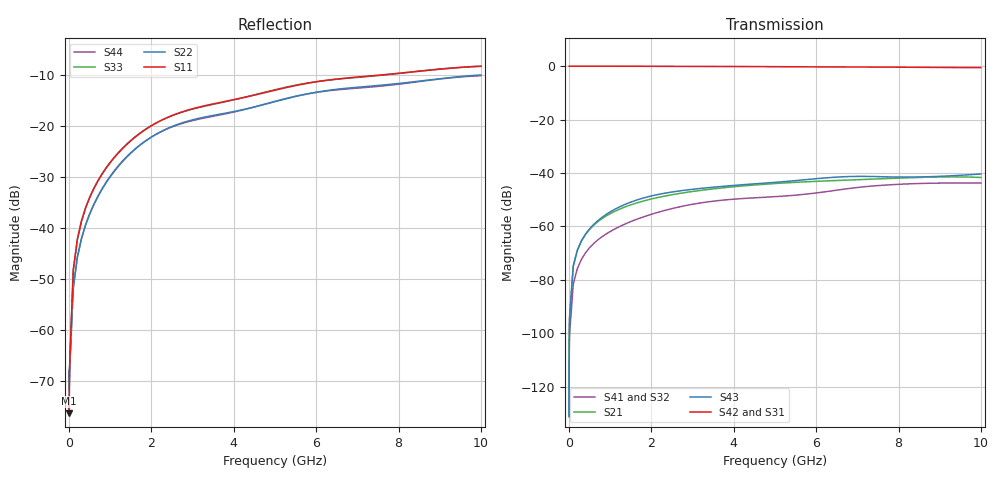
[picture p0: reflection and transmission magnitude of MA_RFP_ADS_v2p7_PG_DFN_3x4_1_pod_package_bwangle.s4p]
! Touchstone file exported from HFSS 2020.1.0
!  File:  C:/Users/zhu/Documents/Projects/Package simulation/WSGPA1/hfss/PG_DFN_3x4_1_pod.aedt
!  Generated:  7:43:33 PM  May 18, 2021
!  Design:  package_bwangle
!  Project:  PG_DFN_3x4_1_pod
!  Setup:  Setup1
!  Solution:  Sweep
! Variables:
!  LH_G1 = 5mil
!  Rw = 0.5mil
!  dy_D = 0.155mm
!  dy_G = 4.8mil
!  dy_lead = 0.5mm
!  x0 = -1.28288mm
!  xoff_D = 58mil
!  xoff_cd = 0.457mm
!  xoff_cg = 0.104mm
!  xoffset_G1 = 7.2mil
!  xsize_c = 0.1mm
!  xsize_fet = 0.64mm
!  xsize_fl = 1.7mm
!  xsize_lead = 0.4mm
!  xsize_pcb = 50mm
!  xsize_wf = 3mm
!  y0 = 0
!  ysize_c = 0.47mm
!  ysize_fet = 0.83mm
!  ysize_fl = 3.3mm
!  ysize_lead = 0.22mm
!  ysize_pcb = 50mm
!  ysize_trace = 0.72mm
!  ysize_wf = 4mm
!  ysize_wp = 7.2mm
!  zoff_lead = 0.02mm
!  zsize_fet = 4mil
!  zsize_insulator = 20mil
!  zsize_lead = 0.87mm
!  zsize_trace = 35um
!  zsize_wf = 0.85mm
!  zsize_wp = 3.6mm
# GHZ S MA R 50.000000
! Terminal data exported
! Port[1] = trace_i_T1
! Port[2] = trace_o_T1
! Port[3] = Cg_T1
! Port[4] = Cd_T1
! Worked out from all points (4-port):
!   121 points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, 1 kHz to 10 GHz, reference per port
!   strongest paths, dB at 1 kHz, 1 GHz, 4 GHz, 7 GHz, 10 GHz:
!     S42: 0.0, 0.0, -0.1, -0.3, -0.5
!     S31: 0.0, 0.0, -0.2, -0.5, -0.8
!     S43: -131.1, -54.5, -44.7, -41.3, -40.4
!     S21: -131.4, -55.2, -45.2, -42.5, -41.7
!     S41: -131.1, -61.9, -49.8, -45.4, -43.8
!     S32: -131.1, -61.9, -50.0, -45.6, -43.8
!   lowest |S11| = -76.4 dB at 1.585 MHz (marker M1), VSWR 1.00
!   |S11| at or under -10 dB: start of sweep to 7.629 GHz
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1e-06  0.00018 -0.0  2.707e-07 0.5  0.9997 -0.0  2.79e-07 -179.8
       2.707e-07 0.5  0.0003928 -0.0  2.788e-07 -179.8  0.9996 -0.0
       0.9997 -0.0  2.788e-07 -179.8  0.0002132 0.0  2.771e-07 0.4
       2.79e-07 -179.8  0.9996 -0.0  2.771e-07 0.4  0.0003118 0.0
0.001584893  0.0001509 -20.1  3.196e-06 82.2  0.9999 -0.0  1.678e-06 -104.8
             3.196e-06 82.2  0.0002553 -6.6  1.678e-06 -104.8  0.9998 -0.0
             0.9999 -0.0  1.678e-06 -104.8  0.0001652 -33.2  3.198e-06 82.3
             1.678e-06 -104.8  0.9998 -0.0  3.198e-06 82.3  0.0003063 -13.3
0.01  0.0004046 -66.8  1.87e-05 86.9  0.9998 -0.1  8.976e-06 -96.3
      1.87e-05 86.9  0.0003882 -39.0  8.977e-06 -96.3  0.9997 -0.1
      0.9998 -0.1  8.977e-06 -96.3  0.0004051 -66.6  1.87e-05 87.0
      8.976e-06 -96.3  0.9997 -0.1  1.87e-05 87.0  0.0003894 -38.7
0.1  0.003802 -89.7  0.0001795 88.4  0.9997 -0.8  8.211e-05 -92.3
     0.0001795 88.4  0.002538 -85.6  8.212e-05 -92.3  0.9996 -0.8
     0.9997 -0.8  8.212e-05 -92.3  0.003808 -86.6  0.0001798 88.6
     8.211e-05 -92.3  0.9996 -0.8  0.0001798 88.6  0.002557 -81.3
0.3  0.01165 -95.5  0.0005347 88.1  0.9995 -2.4  0.000242 -91.2
     0.0005347 88.1  0.007853 -95.2  0.0002421 -91.0  0.9993 -2.5
     0.9995 -2.4  0.0002421 -91.0  0.01152 -87.1  0.0005384 88.3
     0.000242 -91.2  0.9993 -2.5  0.0005384 88.3  0.007776 -83.5
1.5  0.07136 -111.0  0.002532 82.5  0.9957 -11.6  0.001231 -89.3
     0.002532 82.5  0.05393 -112.4  0.001228 -88.6  0.9963 -12.2
     0.9957 -11.6  0.001228 -88.6  0.07183 -92.2  0.00285 77.9
     0.001231 -89.3  0.9963 -12.2  0.00285 77.9  0.05446 -91.1
10  0.384 -161.9  0.008226 5.4  0.9151 -72.2  0.006473 -146.4
    0.008226 5.4  0.3146 -147.6  0.006481 -133.2  0.9394 -78.5
    0.9151 -72.2  0.006481 -133.2  0.3821 -163.2  0.009587 43.2
    0.006473 -146.4  0.9394 -78.5  0.009587 43.2  0.3097 169.6
